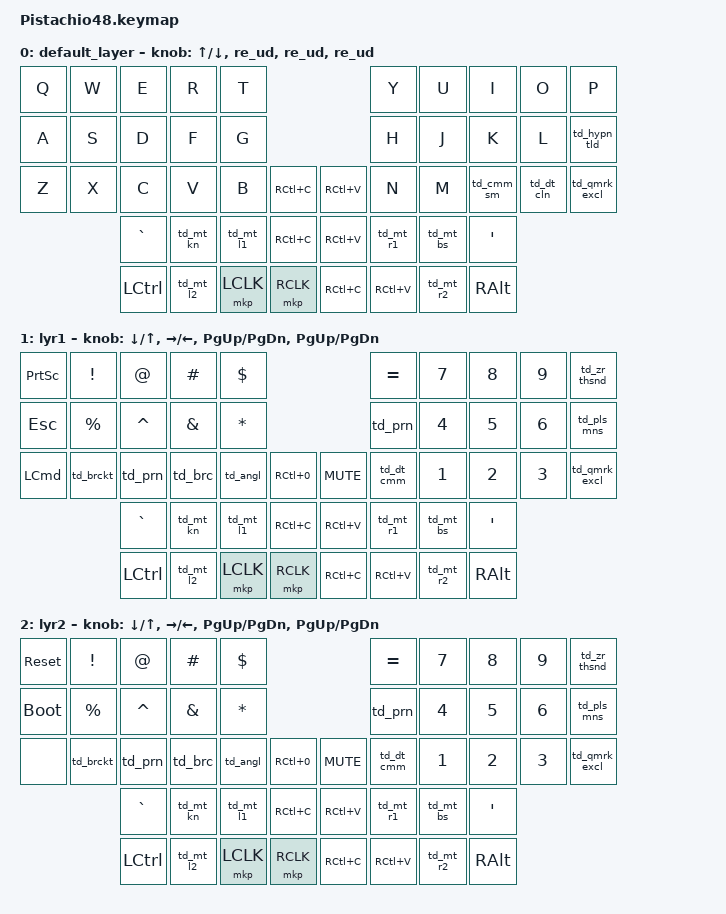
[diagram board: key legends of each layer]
/*
 * Copyright (c) 2020 The ZMK Contributors
 * SPDX-License-Identifier: MIT
 */

#include <behaviors.dtsi>
#include <dt-bindings/zmk/keys.h>
#include <dt-bindings/zmk/bt.h>
#include <dt-bindings/zmk/mouse.h>

//Layer
#define default_layer 0
#define lyr1          1
#define lyr2          2

/ {
    /*
    &mt {
    tapping-term-ms = <400>;
    };
    ,----------------------------------------------------.
    | behaviors     | Tap   | Hold  |DoubleTap |DTap&Hld |
    ----------------+-------+-------+----------+---------
    | td_dt_cmm     | . 	| 	    | ,        |    	 |
    | td_dt_cln     | .	    | 	    | :        |    	 |
    | td_cmm_sm     | ,	    | 	    | ;        |    	 |
    | td_hypn_tld	| -     | 	    | ~        |    	 |
    | td_qmrk_excl  | ?     | 	    | !        |    	 |
    | td_pls_mns    | + 	| 	    | -        |    	 |
    | td_astrsk_slsh| * 	| 	    | /        |    	 |
    | td_prn        | ()	|  	    | )        |    	 |
    | td_brckt      | []	| 	    | ]        |    	 |
    | td_brc        | {}	| 	    | }        |    	 |
    | td_angl	    | <>	| 	    | >        |    	 |
    | td_zr_thsnd   | 0	    | 	    | ,000	   |    	 |
    | td_mt_kn      | KANA	| LAlt  | TAB	   | LCntrl  |
    | td_mt_bs	    | BckSp | RCtrl | Shift+TAB| RAlt	 |
    | td_mt_l1      | Space | LYR1  | F7	   | Shft	 |
    | td_mt_l2      | F7	| Shift | TAB	   | LYR2	 |
    | td_mt_r1      | Enter | LYR1	| F10	   | Shft	 |
    | td_mt_r2      | F10	| Shift | Shift+TAB| LYR2	 |
    ,----------------------------------------------------.
    ,------------------------------------------------------------.
    | RotaryEncoder |   clckws    | cntr-clckws |      Key      |
    ----------------+-------------+-------------+----------------
    |  re_up_down   |    UP       |   DOWN      |               |
    |               |    Right    |   Left      |               |
    |               |  &mkp MB4   |  &mkp MB5   |               |
    |               |             |             |               |
    |               |             |             |               |
    |               |             |             |               |
    ,------------------------------------------------------------.
    &ind_bat  // indicate battery level
    &ind_con  // indicate connectivity status
    */
	behaviors {
        td_dt_cmm: tap_dance_dot_comma {
            compatible = "zmk,behavior-tap-dance";
            label = "TAP_DANCE_DOT_COMMA";
            #binding-cells = <0>;
            tapping-term-ms = <200>;
            bindings = <&kp DOT>, <&kp COMMA>;
        };
        td_dt_cln: tap_dance_dot_colon {
            compatible = "zmk,behavior-tap-dance";
            label = "TAP_DANCE_DOT_COLON";
            #binding-cells = <0>;
            tapping-term-ms = <200>;
            bindings = <&kp DOT>, <&kp COLON>;
        };
        td_cmm_sm: tap_dance_comma_semicolon {
            compatible = "zmk,behavior-tap-dance";
            label = "TAP_DANCE_COMMA_SEMICOLON";
            #binding-cells = <0>;
            tapping-term-ms = <200>;
            bindings = <&kp COMMA>, <&kp SEMI>;
        };
        td_hypn_tld: tap_dance_hyphen_tilde {
            compatible = "zmk,behavior-tap-dance";
            label = "TAP_DANCE_HYPHEN_TILDE";
            #binding-cells = <0>;
            tapping-term-ms = <200>;
            bindings = <&kp MINUS>, <&kp TILDE>;
        };
		td_qmrk_excl: tap_dance_question_exclamation {
			compatible = "zmk,behavior-tap-dance";
			label = "TAP_DANCE_QUESTION_EXCLAMATION";
			#binding-cells = <0>;
			tapping-term-ms = <200>;
			bindings = <&kp QMARK>, <&kp EXCL>;
  		};
        td_pls_mns: tap_dance_plus_minus {
            compatible = "zmk,behavior-tap-dance";
            label = "TAP_DANCE_PLUS_MINUS";
            #binding-cells = <0>;
            tapping-term-ms = <200>;
            bindings = <&kp PLUS>, <&kp MINUS>;
        };
        td_astrsk_slsh: tap_dance_asterisk_slash {
            compatible = "zmk,behavior-tap-dance";
            label = "TAP_DANCE_ASTERISK_SLASH";
            #binding-cells = <0>;
            tapping-term-ms = <200>;
            bindings = <&kp ASTERISK>, <&kp SLASH>;
        };
        td_prn: tap_dance_parentheses {
            compatible = "zmk,behavior-tap-dance";
            label = "TAP_DANCE_PARENTHESES";
            #binding-cells = <0>;
            tapping-term-ms = <200>;
            bindings = <&kp LEFT_PARENTHESIS &kp RIGHT_PARENTHESIS>, <&kp RIGHT_PARENTHESIS>;
        };
        td_brckt: tap_dance_brackets {
            compatible = "zmk,behavior-tap-dance";
            label = "TAP_DANCE_BRACKETS";
            #binding-cells = <0>;
            tapping-term-ms = <200>;
            bindings = <&kp LEFT_BRACKET &kp RIGHT_BRACKET>, <&kp RIGHT_BRACKET>;
        };
        td_brc: tap_dance_braces {
            compatible = "zmk,behavior-tap-dance";
            label = "TAP_DANCE_BRACES";
            #binding-cells = <0>;
            tapping-term-ms = <200>;
            bindings = <&kp LEFT_BRACE &kp RIGHT_BRACE>, <&kp RIGHT_BRACE>;
        };
        td_angl: tap_dance_angle_brackets {
            compatible = "zmk,behavior-tap-dance";
            label = "TAP_DANCE_ANGLE_BRACKETS";
            #binding-cells = <0>;
            tapping-term-ms = <200>;
            bindings = <&kp LESS_THAN &kp GREATER_THAN>, <&kp GREATER_THAN>;
        };
		td_zr_thsnd: tap_dance_zero_thousand {
            compatible = "zmk,behavior-tap-dance";
            label = "TAP_DANCE_ZERO_THOUSAND";
            #binding-cells = <0>;
            tapping-term-ms = <200>;
            //bindings = <&kp N0>, <&zr_thsnd>;
            bindings = <&kp N0>, <&kp COMMA &kp N0 &kp N0 &kp N0>;
        };
        /*
        zr_thsnd: zero_thousand {
            compatible = "zmk,behavior-macro";
            label = "ZERO_THOUSAND";
            #binding-cells = <0>;
            bindings = <&kp COMMA &kp N0 &kp N0 &kp N0>;
        };
        */
        td_mt_kn: tap_dance_mt_kana {
            compatible = "zmk,behavior-tap-dance";
            #binding-cells = <0>;
            tapping-term-ms = <200>;
            bindings = <&mt LALT INT4>, <&mt LCTRL TAB>;
        };
        td_mt_bs: tap_dance_mt_bksp {
            compatible = "zmk,behavior-tap-dance";
            #binding-cells = <0>;
            tapping-term-ms = <200>;
            bindings = <&mt RCTRL BACKSPACE>, <&mt RALT LS(TAB)>;
        };
        td_mt_l1: tap_dance_mt_llyr1 {
            compatible = "zmk,behavior-tap-dance";
            #binding-cells = <0>;
            tapping-term-ms = <200>;
            //bindings = <&mt LSHIFT CAPSLOCK>, <&kp LCTRL>;
            bindings = <&lt lyr1 SPACE>, <&mt RSHIFT F7>;
        };
        td_mt_l2: tap_dance_mt_llyr2 {
            compatible = "zmk,behavior-tap-dance";
            #binding-cells = <0>;
            tapping-term-ms = <200>;
            bindings = <&mt RSHIFT F7>, <&lt lyr2 TAB>;
        };
        td_mt_r1: tap_dance_mt_rlyr1 {
            compatible = "zmk,behavior-tap-dance";
            #binding-cells = <0>;
            tapping-term-ms = <200>;
            bindings = <&lt lyr1 ENTER>, <&mt RSHIFT F10>;
        };
        td_mt_r2: tap_dance_mt_rlyr2 {
            compatible = "zmk,behavior-tap-dance";
            #binding-cells = <0>;
            tapping-term-ms = <200>;
            bindings =  <&mt RSHIFT F10>, <&lt lyr2 LS(TAB)>;
        };
        re_kp: sensor_rotate_kp {
            compatible = "zmk,behavior-sensor-rotate-var";
            #sensor-binding-cells = <2>;
            bindings = <&kp>, <&kp>;
	    };
        re_ud: re_up_down {
            compatible = "zmk,behavior-sensor-rotate";
            #sensor-binding-cells = <0>;
            bindings = <&kp UP>, <&kp DOWN>;
        };
    };

	keymap {
		compatible = "zmk,keymap";
		default_layer { //Layer 0
		    /*   
			,-------------------------------------------------------------------------------------------------------------.
			|   Q    |   W    |   E    |   R    |   T    |                    |   Y    |   U    |   I    |   O    |   P    |
			|--------+--------+--------+--------+--------+--------------------+--------+--------+--------+--------+--------|
			|   A    | S/PTBL | D/POBJ | F/PFNT |   G    |                    |   H    |   J    |   K    |   L    |  -|~   |
			|--------+--------+--------+--------+--------+--------+--+--------+--------+--------+--------+--------+--------|
			|   Z    |   X    |   C    |   V    |   B    | Ind_Bat|  | Ind_Con|   N    |   M    |  ,|;   |  .|:   |  ?|!   |
			|--------+--------+--------+--------+--------+--------+--+--------+--------+--------+--------+--------+--------|
			|        |        |   ~`   |KANA/Alt|Sp/LYR1 | Ctrl+C |  | Ctrl+V |En/LYR1 |Bksp/Ctl|  '\    |        |        |
			|--------+--------+--------+--------+--------+--------+--+--------+--------+--------+--------+--------+--------|
			|        |        |  Ctrl  |CC/Sf\L2| mouseL | mouseR |  | Ctrl+C | Ctrl+V |CV/Sf\L2|  Alt   |        |        |
			,-------------------------------------------------------------------------------------------------------------.
            */
            bindings = <
                &kp Q       &kp W       &kp E       &kp R       &kp T                                  &kp Y       &kp U       &kp I       &kp O         &kp P    
                &kp A       &kp S       &kp D       &kp F       &kp G                                  &kp H       &kp J       &kp K       &kp L         &td_hypn_tld
                &kp Z       &kp X       &kp C       &kp V       &kp B       &kp RC(C)      &kp RC(V)   &kp N       &kp M       &td_cmm_sm  &td_dt_cln    &td_qmrk_excl
                                        &kp GRAVE   &td_mt_kn   &td_mt_l1   &kp RC(C)      &kp RC(V)   &td_mt_r1   &td_mt_bs   &kp APOS    
                                        &kp LCTRL   &td_mt_l2   &mkp LCLK   &mkp RCLK      &kp RC(C)   &kp RC(V)   &td_mt_r2   &kp RALT    
            >;
                //sensor-bindings = <&inc_dec_kp UP DOWN &inc_dec_kp RIGHT LEFT &inc_dec_kp PG_UP PG_DN &inc_dec_kp PG_UP PG_DN>;
                sensor-bindings = <&re_kp UP DOWN &re_ud &re_ud &re_ud>;
		};
        lyr1 { //Layer 1
		    /*   
			,-------------------------------------------------------------------------------------------------------------.
			| PrtSc  |   !    |   @    |   #    |   $    |                    |   =    |   7    |   8    |   9    | 0|,000 |
			|--------+--------+--------+--------+--------+--------------------+--------+--------+--------+--------+--------|
			|  ESC   |   %    |   ^    |   &    |   *    |                    |  ()|)  |   4    |   5    |   6    |  +|-   |
			|--------+--------+--------+--------+--------+--------+--+--------+--------+--------+--------+--------+--------|
			|  CMMD  |  []|]  |  ()|)  |  {}|}  |  <>|>  | Ctrl+0 |  |  MUTE  |  .|,   |   1    |   2    |   3    |  *|/   |
			|--------+--------+--------+--------+--------+--------+--+--------+--------+--------+--------+--------+--------|
			|        |  ESC   |   ~`   |KANA/Alt|Sp/LYR1 |   F7   |  |  F10   |En/LYR1 |Bksp/Ctl|   '    |   /    |        |
			|--------+--------+--------+--------+--------+--------+--+--------+--------+--------+--------+--------+--------|
			|        |  CMMD  |  Ctrl  |CC/Sf\L2| mouseL | mouseR |  | Ctrl+C | Ctrl+V |CV/Sf\L2|  Alt   |   \    |        |
			,-------------------------------------------------------------------------------------------------------------.
            */
            bindings = <
                &kp PSCRN   &kp EXCL    &kp AT      &kp HASH      &kp DLLR                                  &kp EQUAL    &kp N7         &kp N8      &kp N9          &td_zr_thsnd
                &kp ESC     &kp PRCNT   &kp CARET   &kp AMPS      &kp ASTRK                                 &td_prn      &kp N4         &kp N5      &kp N6          &td_pls_mns
                &kp LCMD    &td_brckt   &td_prn     &td_brc       &td_angl        &kp RC(0)      &kp C_MUTE &td_dt_cmm   &kp N1         &kp N2      &kp N3          &td_qmrk_excl
                                        &kp GRAVE   &td_mt_kn     &td_mt_l1       &kp RC(C)      &kp RC(V)  &td_mt_r1    &td_mt_bs      &kp APOS    
                                        &kp LCTRL   &td_mt_l2     &mkp LCLK       &mkp RCLK      &kp RC(C)  &kp RC(V)    &td_mt_r2      &kp RALT    
            >;
                sensor-bindings = <&inc_dec_kp DOWN UP &inc_dec_kp RIGHT LEFT &inc_dec_kp PG_UP PG_DN &inc_dec_kp PG_UP PG_DN>;
                //[_LYR1]   = { ENCODER_CCW_CW(RCTL(KC_PPLS), RCTL(KC_PMNS)),ENCODER_CCW_CW(RCTL(KC_Z),RCTL(KC_Y)),  ENCODER_CCW_CW(RCS(KC_TAB), RCTL(KC_TAB)),  ENCODER_CCW_CW(KC_WBAK, KC_WFWD)  }, 
        };
        lyr2 { //Layer 2
		    /*   
			,-------------------------------------------------------------------------------------------------------------.
			| PrtSc  |   !    |   @    |   #    |   $    |                    |   =    |   7    |   8    |   9    | 0|,000 |
			|--------+--------+--------+--------+--------+--------------------+--------+--------+--------+--------+--------|
			|        |   %    |   ^    |   &    |   *    |                    |  ()|)  |   4    |   5    |   6    |  +|-   |
			|--------+--------+--------+--------+--------+--------+--+--------+--------+--------+--------+--------+--------|
			|        |  []|]  |  ()|)  |  {}|}  |  <>|>  | Ctrl+0 |  |  MUTE  |  .|,   |   1    |   2    |   3    |  *|/   |
			|--------+--------+--------+--------+--------+--------+--+--------+--------+--------+--------+--------+--------|
			|        |  ESC   |   ~`   |KANA/Alt|Sp/LYR1 |   F7   |  |  F10   |En/LYR1 |Bksp/Ctl|   '    |   /    |        |
			|--------+--------+--------+--------+--------+--------+--+--------+--------+--------+--------+--------+--------|
			|        |  CMMD  |  Ctrl  |CC/Sf\L2| mouseL | mouseR |  | Ctrl+C | Ctrl+V |CV/Sf\L2|  Alt   |   \    |        |
			,-------------------------------------------------------------------------------------------------------------.
            */
            bindings = <
                &sys_reset  &kp EXCL    &kp AT      &kp HASH      &kp DLLR                                  &kp EQUAL    &kp N7         &kp N8      &kp N9          &td_zr_thsnd
                &bootloader &kp PRCNT   &kp CARET   &kp AMPS      &kp ASTRK                                 &td_prn      &kp N4         &kp N5      &kp N6          &td_pls_mns
                &none       &td_brckt   &td_prn     &td_brc       &td_angl        &kp RC(0)      &kp C_MUTE &td_dt_cmm   &kp N1         &kp N2      &kp N3          &td_qmrk_excl
                                        &kp GRAVE   &td_mt_kn     &td_mt_l1       &kp RC(C)      &kp RC(V)  &td_mt_r1    &td_mt_bs      &kp APOS    
                                        &kp LCTRL   &td_mt_l2     &mkp LCLK       &mkp RCLK      &kp RC(C)  &kp RC(V)    &td_mt_r2      &kp RALT    
            >;
                sensor-bindings = <&inc_dec_kp DOWN UP &inc_dec_kp RIGHT LEFT &inc_dec_kp PG_UP PG_DN &inc_dec_kp PG_UP PG_DN>;
                //[_LYR1]   = { ENCODER_CCW_CW(RCTL(KC_PPLS), RCTL(KC_PMNS)),ENCODER_CCW_CW(RCTL(KC_Z),RCTL(KC_Y)),  ENCODER_CCW_CW(RCS(KC_TAB), RCTL(KC_TAB)),  ENCODER_CCW_CW(KC_WBAK, KC_WFWD)  }, 
		};
	};
};
